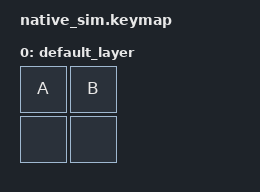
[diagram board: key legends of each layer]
#include <behaviors.dtsi>
#include <dt-bindings/zmk/keys.h>
#include <dt-bindings/zmk/kscan_mock.h>

/ {
    keymap {
        compatible = "zmk,keymap";

        default_layer {
            bindings = <
                &kp A &kp B
                &none &none
            >;
        };
    };
};

&kscan {
    /delete-property/ exit-after;
    /* Mock reuses each delay as the gap after its event.
     * The &none press sets where the burst starts. */
    events = <
        ZMK_MOCK_PRESS(1,1,100)
        ZMK_MOCK_PRESS(0,0,0)
        ZMK_MOCK_PRESS(0,1,0)
        ZMK_MOCK_RELEASE(0,0,0)
    >;
};
